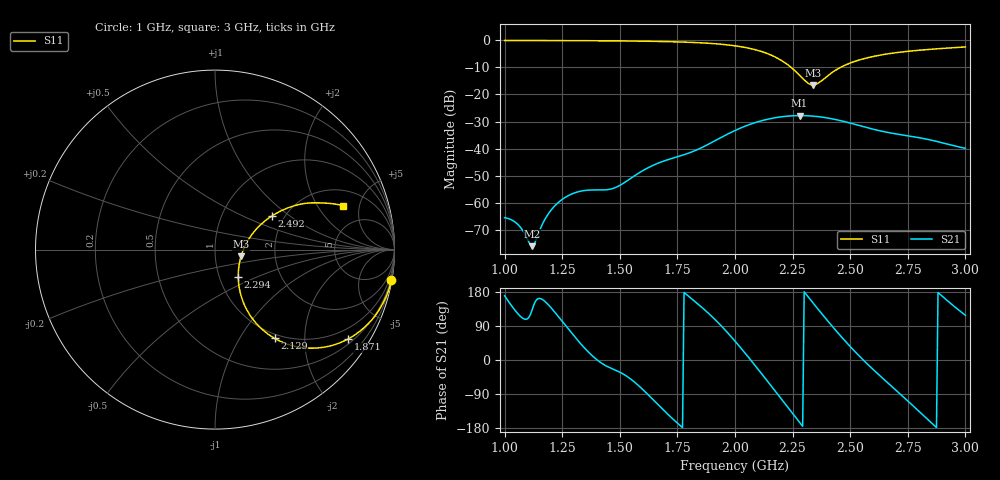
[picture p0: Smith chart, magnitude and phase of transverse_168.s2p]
! TOUCHSTONE file generated by CST MICROWAVE STUDIO
! Date and time: Tue Mar 11 13:57:19 2025
! Project name: transverse.cst
! Parameters = {Fracture=5; B=10; D=160; F=15; Feed=2.85625; L=100; M=30; R=0.384908; S=2; Theta=180; length=57.125; wave=114.25}
! Header version: 2024
! Port assignment regex: !\s*Touchstone port\s*([0-9]+)\s*=\s*(CST MWS port|CST DES external port|CST DES block port)\s*(.+)\s* \(\"(.*)\"\)(\s*mode\s*([0-9]+))?.*
! Touchstone port assignment:
! Touchstone port 1 = CST MWS port 1 ("")
! Touchstone port 2 = CST MWS port 2 ("")
# GHz S MA R 50
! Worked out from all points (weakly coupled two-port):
!   304 points, 1 GHz to 3 GHz, reference 50 ohm
!   highest |S21| = -27.80 dB at 2.281 GHz (marker M1); lowest = -76.1 dB at 1.119 GHz (marker M2)
!   lowest |S11| = -16.5 dB at 2.34 GHz (marker M3), VSWR 1.35, Z = 66.7 - j5.22 ohm
!   |S11| at or under -10 dB: 2.244 GHz to 2.457 GHz (213.7 MHz wide, 9.09 % of centre)
!   S12 and S22 are empty: the file has one direction only
!   S11 on the Smith chart (normalised r, x): 1 GHz: 0, -12; 1.871 GHz: 0.64, -3.16; 2.129 GHz: 0.93, -1.43; 2.294 GHz: 1.23, -0.39; 2.492 GHz: 1.73, +0.75; 3 GHz: 3.05, +3.47
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1  0.9975 -9.8  0.0005288 169.6  0 0.0  0 0.0
1.033  0.9972 -10.2  0.000474 140.7  0 0.0  0 0.0
1.05941  0.9969 -10.6  0.0003884 120.8  0 0.0  0 0.0
1.11881  0.9961 -11.4  0.0001571 131.3  0 0.0  0 0.0
1.13201  0.9958 -11.6  0.0001844 152.8  0 0.0  0 0.0
1.17162  0.9948 -12.3  0.0004634 156.4  0 0.0  0 0.0
1.21122  0.9935 -12.9  0.0008153 131.0  0 0.0  0 0.0
1.27063  0.9916 -13.9  0.00131 86.3  0 0.0  0 0.0
1.33663  0.9891 -15.2  0.001653 38.5  0 0.0  0 0.0
1.47525  0.9802 -18.3  0.001865 -25.3  0 0.0  0 0.0
1.66667  0.9574 -24.1  0.005384 -118.1  0 0.0  0 0.0
1.87129  0.8927 -34.0  0.01125 130.7  0 0.0  0 0.0
2.0033  0.7905 -43.9  0.02191 47.5  0 0.0  0 0.0
2.12871  0.5956 -56.1  0.03387 -46.4  0 0.0  0 0.0
2.20792  0.4093 -62.0  0.03903 -108.2  0 0.0  0 0.0
2.28053  0.2263 -54.5  0.04073 -164.8  0 0.0  0 0.0
2.29373  0.1987 -49.3  0.0407 -175.0  0 0.0  0 0.0
2.33993  0.15 -14.8  0.03976 149.6  0 0.0  0 0.0
2.41254  0.2394 24.6  0.0361 95.8  0 0.0  0 0.0
2.49175  0.3697 30.6  0.03028 40.9  0 0.0  0 0.0
2.66997  0.57 26.9  0.01963 -64.0  0 0.0  0 0.0
3  0.7553 18.8  0.01011 118.1  0 0.0  0 0.0
